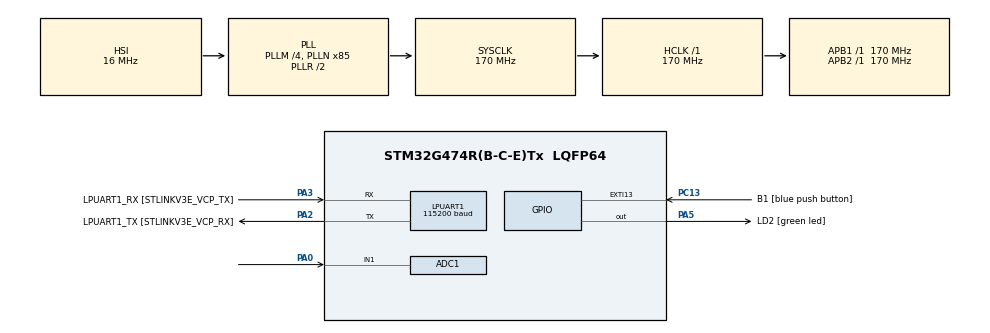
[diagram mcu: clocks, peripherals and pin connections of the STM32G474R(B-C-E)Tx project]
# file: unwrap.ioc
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ADC1.Channel-0\#ChannelRegularConversion=ADC_CHANNEL_1
ADC1.ContinuousConvMode=ENABLE
ADC1.DMAContinuousRequests=ENABLE
ADC1.NbrOfConversionFlag=1
ADC1.OffsetNumber-0\#ChannelRegularConversion=ADC_OFFSET_NONE
ADC1.Rank-0\#ChannelRegularConversion=1
ADC1.SamplingTime-0\#ChannelRegularConversion=ADC_SAMPLETIME_2CYCLES_5
ADC1.master=1
Dma.ADC1.0.Direction=DMA_PERIPH_TO_MEMORY
Dma.ADC1.0.EventEnable=DISABLE
Dma.ADC1.0.Instance=DMA1_Channel1
Dma.ADC1.0.MemDataAlignment=DMA_MDATAALIGN_HALFWORD
Dma.ADC1.0.MemInc=DMA_MINC_ENABLE
Dma.ADC1.0.Mode=DMA_CIRCULAR
Dma.ADC1.0.PeriphDataAlignment=DMA_PDATAALIGN_HALFWORD
Dma.ADC1.0.PeriphInc=DMA_PINC_DISABLE
Dma.ADC1.0.Polarity=HAL_DMAMUX_REQ_GEN_RISING
Dma.ADC1.0.Priority=DMA_PRIORITY_LOW
Dma.ADC1.0.RequestNumber=1
Dma.ADC1.0.SignalID=NONE
Dma.ADC1.0.SyncEnable=DISABLE
Dma.ADC1.0.SyncPolarity=HAL_DMAMUX_SYNC_NO_EVENT
Dma.ADC1.0.SyncRequestNumber=1
Dma.ADC1.0.SyncSignalID=NONE
Dma.Request0=ADC1
LPUART1.BaudRate=115200
LPUART1.WordLength=UART_WORDLENGTH_8B
Mcu.Family=STM32G4
Mcu.Name=STM32G474R(B-C-E)Tx
Mcu.Package=LQFP64
NVIC.ADC1_2_IRQn=true\:0\:0\:false\:false\:true\:true\:true\:true
NVIC.DMA1_Channel1_IRQn=true\:0\:0\:false\:false\:true\:false\:true\:true
NVIC.EXTI15_10_IRQn=true\:0\:0\:false\:false\:true\:true\:true\:true
NVIC.PriorityGroup=NVIC_PRIORITYGROUP_4
PA0.Mode=IN1-Single-Ended
PA0.Signal=ADC1_IN1
PA13.GPIO_Label=T_SWDIO
PA13.Mode=Serial_Wire
PA13.Signal=SYS_JTMS-SWDIO
PA14.GPIO_Label=T_SWCLK
PA14.Mode=Serial_Wire
PA14.Signal=SYS_JTCK-SWCLK
PA2.GPIO_Label=LPUART1_TX [STLINKV3E_VCP_RX]
PA2.Mode=Asynchronous
PA2.Signal=LPUART1_TX
PA3.GPIO_Label=LPUART1_RX [STLINKV3E_VCP_TX]
PA3.Mode=Asynchronous
PA3.Signal=LPUART1_RX
PA5.GPIO_Label=LD2 [green led]
PA5.Signal=GPIO_Output
PB3.GPIO_Label=T_SWO
PB3.Signal=SYS_JTDO-SWO
PC13.GPIO_Label=B1 [blue push button]
PC13.Signal=GPXTI13
PC14-OSC32_IN.Mode=LSE-External-Oscillator
PC14-OSC32_IN.Signal=RCC_OSC32_IN
PC15-OSC32_OUT.Mode=LSE-External-Oscillator
PC15-OSC32_OUT.Signal=RCC_OSC32_OUT
PF0-OSC_IN.Mode=HSE-External-Oscillator
PF0-OSC_IN.Signal=RCC_OSC_IN
PF1-OSC_OUT.Mode=HSE-External-Oscillator
PF1-OSC_OUT.Signal=RCC_OSC_OUT
ProjectManager.HeapSize=0x200
ProjectManager.StackSize=0x400
ProjectManager.TargetToolchain=STM32CubeIDE
RCC.ADC12Freq_Value=170000000
RCC.ADC345Freq_Value=170000000
RCC.AHBFreq_Value=170000000
RCC.APB1Freq_Value=170000000
RCC.APB1TimFreq_Value=170000000
RCC.APB2Freq_Value=170000000
RCC.APB2TimFreq_Value=170000000
RCC.CortexFreq_Value=170000000
RCC.EXTERNAL_CLOCK_VALUE=12288000
RCC.HCLKFreq_Value=170000000
RCC.HSE_VALUE=24000000
RCC.HSI48_VALUE=48000000
RCC.HSI_VALUE=16000000
RCC.PLLM=RCC_PLLM_DIV4
RCC.PLLN=85
RCC.RTCClockSelection=RCC_RTCCLKSOURCE_LSE
RCC.SYSCLKFreq_VALUE=170000000
RCC.SYSCLKSource=RCC_SYSCLKSOURCE_PLLCLK
RCC.USBFreq_Value=170000000
RCC.VCOOutputFreq_Value=340000000
VP_SYS_VS_DBSignals.Mode=DisableDeadBatterySignals
board=NUCLEO-G474RE

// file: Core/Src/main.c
/* USER CODE BEGIN Header */
/**
  ******************************************************************************
  * @file           : main.c
  * @brief          : Main program body
  ******************************************************************************
  * @attention
  *
  * Copyright (c) 2024 STMicroelectronics.
  * All rights reserved.
  *
  * This software is licensed under terms that can be found in the LICENSE file
  * in the root directory of this software component.
  * If no LICENSE file comes with this software, it is provided AS-IS.
  *
  ******************************************************************************
  */
/* USER CODE END Header */
#include "main.h"

/* USER CODE BEGIN Includes */
#include <math.h>
/* USER CODE END Includes */

ADC_HandleTypeDef hadc1;
DMA_HandleTypeDef hdma_adc1;

UART_HandleTypeDef hlpuart1;

/* USER CODE BEGIN PV */
uint16_t ADC_RawRead[20]={0};
uint16_t sum;
uint16_t check;
uint16_t check2;
uint16_t input;
uint16_t input_prev = 0;
int16_t diff;
//int16_t start = 0;
int16_t noise = 3;
int16_t negative_noise = -3;
int16_t position = 0;
uint64_t time = 0;
int start = 0;
#define TOLERANCE M_PI
/* USER CODE END PV */

void SystemClock_Config(void);
static void MX_GPIO_Init(void);
static void MX_DMA_Init(void);
static void MX_LPUART1_UART_Init(void);
static void MX_ADC1_Init(void);

int main(void)
{

  /* MCU Configuration--------------------------------------------------------*/

  /* Reset of all peripherals, Initializes the Flash interface and the Systick. */
  HAL_Init();

  /* Configure the system clock */
  SystemClock_Config();

  /* Initialize all configured peripherals */
  MX_GPIO_Init();
  MX_DMA_Init();
  MX_LPUART1_UART_Init();
  MX_ADC1_Init();
  /* USER CODE BEGIN 2 */
//  HAL_ADC_Start(&hadc1);
  HAL_ADCEx_Calibration_Start(&hadc1, ADC_SINGLE_ENDED);
  HAL_ADC_Start_DMA(&hadc1, ADC_RawRead, 20);

  /* USER CODE END 2 */

  /* Infinite loop */
  while (1)
  {

    /* USER CODE BEGIN 3 */
	  if (time + 10 > HAL_GetTick())
	  {
		  continue;
	  }
	  sum = 0;
	  for(int i= 0;i <= 19;i++)
	  {
		  sum += ADC_RawRead[i];
	  }
	  input = sum /20;

	  diff = input - input_prev;
	  if (diff > 2000|| diff < -2000 )
	  {
		  check += 1;
		  input_prev = input;
		  continue;
	  }
	  if (diff > noise && diff > 0)
	  {
		  check2 += 1;
		  if (start == 0)
		  {
			  input_prev = input;
			  start = 1;
			  time = HAL_GetTick();
			  continue;
		  }
	  	position += diff;
	  }
	  else if (diff < negative_noise)
	  {
	  	  	position += diff;
	  }

	  input_prev = input;
	  time = HAL_GetTick();
//	  chat gpt version
//	  if (diff > noise)
//	  {
//		  position += diff - noise;
//	  }
//	  else if (diff < negative_noise)
//	  {
//		  position += diff + negative_noise;
//	  }
//
//	  if(diff < 0 && diff < -2048)
//	  {
//		  position += 4096;
//	  }
//	  else if(diff > 0 && diff > 2048)
//	  {
//	  		  position -= 4096;
//	  }
//	  input_prev = input;

//	  if (t == 0 `&& input_prev == 0)
//	  {
//		  input_prev = input;
//		  if (input_prev != 0 )
//		  {
//			  start = 1;
//		  }
//		  continue;
//	  }
//
//	  diff = input - input_prev;
//	  if(diff >= 5)
//	  {
//		  position += diff;
//	  }
//
//
//	  input_prev = input;

  }
  /* USER CODE END 3 */
}

void SystemClock_Config(void)
{
  RCC_OscInitTypeDef RCC_OscInitStruct = {0};
  RCC_ClkInitTypeDef RCC_ClkInitStruct = {0};

  /** Configure the main internal regulator output voltage
  */
  HAL_PWREx_ControlVoltageScaling(PWR_REGULATOR_VOLTAGE_SCALE1_BOOST);

  /** Initializes the RCC Oscillators according to the specified parameters
  * in the RCC_OscInitTypeDef structure.
  */
  RCC_OscInitStruct.OscillatorType = RCC_OSCILLATORTYPE_HSI;
  RCC_OscInitStruct.HSIState = RCC_HSI_ON;
  RCC_OscInitStruct.HSICalibrationValue = RCC_HSICALIBRATION_DEFAULT;
  RCC_OscInitStruct.PLL.PLLState = RCC_PLL_ON;
  RCC_OscInitStruct.PLL.PLLSource = RCC_PLLSOURCE_HSI;
  RCC_OscInitStruct.PLL.PLLM = RCC_PLLM_DIV4;
  RCC_OscInitStruct.PLL.PLLN = 85;
  RCC_OscInitStruct.PLL.PLLP = RCC_PLLP_DIV2;
  RCC_OscInitStruct.PLL.PLLQ = RCC_PLLQ_DIV2;
  RCC_OscInitStruct.PLL.PLLR = RCC_PLLR_DIV2;
  if (HAL_RCC_OscConfig(&RCC_OscInitStruct) != HAL_OK)
  {
    Error_Handler();
  }

  /** Initializes the CPU, AHB and APB buses clocks
  */
  RCC_ClkInitStruct.ClockType = RCC_CLOCKTYPE_HCLK|RCC_CLOCKTYPE_SYSCLK
                              |RCC_CLOCKTYPE_PCLK1|RCC_CLOCKTYPE_PCLK2;
  RCC_ClkInitStruct.SYSCLKSource = RCC_SYSCLKSOURCE_PLLCLK;
  RCC_ClkInitStruct.AHBCLKDivider = RCC_SYSCLK_DIV1;
  RCC_ClkInitStruct.APB1CLKDivider = RCC_HCLK_DIV1;
  RCC_ClkInitStruct.APB2CLKDivider = RCC_HCLK_DIV1;

  if (HAL_RCC_ClockConfig(&RCC_ClkInitStruct, FLASH_LATENCY_4) != HAL_OK)
  {
    Error_Handler();
  }
}

static void MX_ADC1_Init(void)
{

  ADC_MultiModeTypeDef multimode = {0};
  ADC_ChannelConfTypeDef sConfig = {0};

  /** Common config
  */
  hadc1.Instance = ADC1;
  hadc1.Init.ClockPrescaler = ADC_CLOCK_SYNC_PCLK_DIV4;
  hadc1.Init.Resolution = ADC_RESOLUTION_12B;
  hadc1.Init.DataAlign = ADC_DATAALIGN_RIGHT;
  hadc1.Init.GainCompensation = 0;
  hadc1.Init.ScanConvMode = ADC_SCAN_DISABLE;
  hadc1.Init.EOCSelection = ADC_EOC_SINGLE_CONV;
  hadc1.Init.LowPowerAutoWait = DISABLE;
  hadc1.Init.ContinuousConvMode = ENABLE;
  hadc1.Init.NbrOfConversion = 1;
  hadc1.Init.DiscontinuousConvMode = DISABLE;
  hadc1.Init.ExternalTrigConv = ADC_SOFTWARE_START;
  hadc1.Init.ExternalTrigConvEdge = ADC_EXTERNALTRIGCONVEDGE_NONE;
  hadc1.Init.DMAContinuousRequests = ENABLE;
  hadc1.Init.Overrun = ADC_OVR_DATA_PRESERVED;
  hadc1.Init.OversamplingMode = DISABLE;
  if (HAL_ADC_Init(&hadc1) != HAL_OK)
  {
    Error_Handler();
  }

  /** Configure the ADC multi-mode
  */
  multimode.Mode = ADC_MODE_INDEPENDENT;
  if (HAL_ADCEx_MultiModeConfigChannel(&hadc1, &multimode) != HAL_OK)
  {
    Error_Handler();
  }

  /** Configure Regular Channel
  */
  sConfig.Channel = ADC_CHANNEL_1;
  sConfig.Rank = ADC_REGULAR_RANK_1;
  sConfig.SamplingTime = ADC_SAMPLETIME_2CYCLES_5;
  sConfig.SingleDiff = ADC_SINGLE_ENDED;
  sConfig.OffsetNumber = ADC_OFFSET_NONE;
  sConfig.Offset = 0;
  if (HAL_ADC_ConfigChannel(&hadc1, &sConfig) != HAL_OK)
  {
    Error_Handler();
  }

}

static void MX_LPUART1_UART_Init(void)
{

  hlpuart1.Instance = LPUART1;
  hlpuart1.Init.BaudRate = 115200;
  hlpuart1.Init.WordLength = UART_WORDLENGTH_8B;
  hlpuart1.Init.StopBits = UART_STOPBITS_1;
  hlpuart1.Init.Parity = UART_PARITY_NONE;
  hlpuart1.Init.Mode = UART_MODE_TX_RX;
  hlpuart1.Init.HwFlowCtl = UART_HWCONTROL_NONE;
  hlpuart1.Init.OneBitSampling = UART_ONE_BIT_SAMPLE_DISABLE;
  hlpuart1.Init.ClockPrescaler = UART_PRESCALER_DIV1;
  hlpuart1.AdvancedInit.AdvFeatureInit = UART_ADVFEATURE_NO_INIT;
  if (HAL_UART_Init(&hlpuart1) != HAL_OK)
  {
    Error_Handler();
  }
  if (HAL_UARTEx_SetTxFifoThreshold(&hlpuart1, UART_TXFIFO_THRESHOLD_1_8) != HAL_OK)
  {
    Error_Handler();
  }
  if (HAL_UARTEx_SetRxFifoThreshold(&hlpuart1, UART_RXFIFO_THRESHOLD_1_8) != HAL_OK)
  {
    Error_Handler();
  }
  if (HAL_UARTEx_DisableFifoMode(&hlpuart1) != HAL_OK)
  {
    Error_Handler();
  }

}

static void MX_DMA_Init(void)
{

  /* DMA controller clock enable */
  __HAL_RCC_DMAMUX1_CLK_ENABLE();
  __HAL_RCC_DMA1_CLK_ENABLE();

  /* DMA interrupt init */
  /* DMA1_Channel1_IRQn interrupt configuration */
  HAL_NVIC_SetPriority(DMA1_Channel1_IRQn, 0, 0);
  HAL_NVIC_EnableIRQ(DMA1_Channel1_IRQn);

}

static void MX_GPIO_Init(void)
{
  GPIO_InitTypeDef GPIO_InitStruct = {0};

  /* GPIO Ports Clock Enable */
  __HAL_RCC_GPIOC_CLK_ENABLE();
  __HAL_RCC_GPIOF_CLK_ENABLE();
  __HAL_RCC_GPIOA_CLK_ENABLE();
  __HAL_RCC_GPIOB_CLK_ENABLE();

  /*Configure GPIO pin Output Level */
  HAL_GPIO_WritePin(LD2_GPIO_Port, LD2_Pin, GPIO_PIN_RESET);

  /*Configure GPIO pin : B1_Pin */
  GPIO_InitStruct.Pin = B1_Pin;
  GPIO_InitStruct.Mode = GPIO_MODE_IT_RISING;
  GPIO_InitStruct.Pull = GPIO_NOPULL;
  HAL_GPIO_Init(B1_GPIO_Port, &GPIO_InitStruct);

  /*Configure GPIO pin : LD2_Pin */
  GPIO_InitStruct.Pin = LD2_Pin;
  GPIO_InitStruct.Mode = GPIO_MODE_OUTPUT_PP;
  GPIO_InitStruct.Pull = GPIO_NOPULL;
  GPIO_InitStruct.Speed = GPIO_SPEED_FREQ_LOW;
  HAL_GPIO_Init(LD2_GPIO_Port, &GPIO_InitStruct);

  /* EXTI interrupt init*/
  HAL_NVIC_SetPriority(EXTI15_10_IRQn, 0, 0);
  HAL_NVIC_EnableIRQ(EXTI15_10_IRQn);

}

void Error_Handler(void)
{
  __disable_irq();
  while (1)
  {
  }
}
